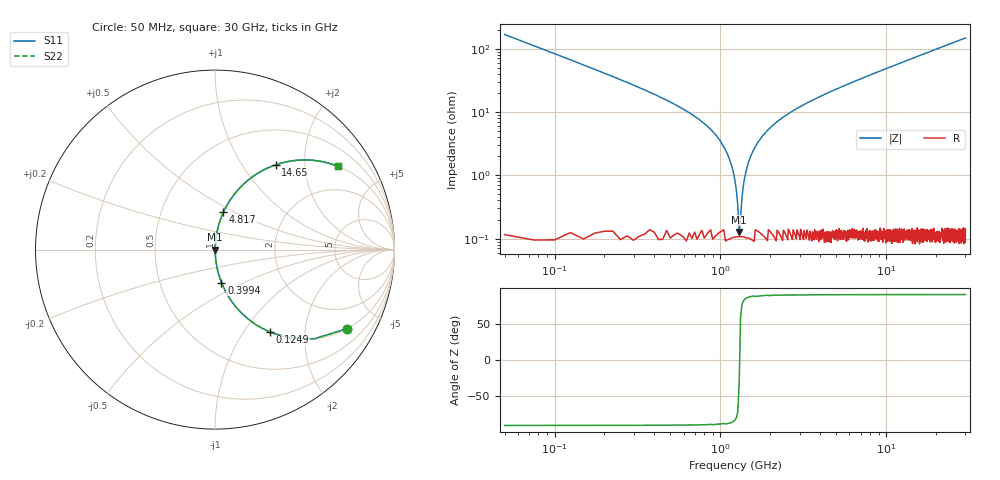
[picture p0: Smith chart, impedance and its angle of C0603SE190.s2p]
!	AVX Thin Film Operation 	Date: April 2014
!	Description: Accu-P® Series, Thin Film  SMD RF Capacitor
!	Part Number: 06033J190FBSTR
# MHZ S MA R 50
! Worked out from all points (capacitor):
!   1201 points, 50 MHz to 30 GHz, reference 50 ohm
!   read as one part in series: C = 19 pF near 199.8 MHz
!   lowest |Z| = 127 mohm at 1.298 GHz (marker M1)
!   series resonance near 1.305 GHz, so ESL is about 780 pH
!   S11 on the Smith chart (normalised r, x): 50 MHz: 1.00, -3.35; 124.9 MHz: 1.00, -1.33; 399.4 MHz: 1.00, -0.38; 4.817 GHz: 1.00, +0.44; 14.65 GHz: 1.00, +1.43; 30 GHz: 1.00, +2.95
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50  0.858 -30.9  0.513 59.1  0.513 59.1  0.858 -30.9
124.875  0.553 -56.3  0.832 33.6  0.832 33.6  0.553 -56.3
249.667  0.307 -71.9  0.951 17.9  0.951 17.9  0.307 -71.9
399.417  0.187 -78.9  0.981 10.8  0.981 10.8  0.187 -78.9
948.5  0.042 -86.0  0.998 2.4  0.998 2.4  0.042 -86.0
1073.292  0.025 -85.9  0.999 1.4  0.999 1.4  0.025 -85.9
1198.083  0.011 -83.4  0.999 0.6  0.999 0.6  0.011 -83.4
1297.917  0.001333 -30.4  0.999 0.0  0.999 0.0  0.001333 -30.4
1397.75  0.008909 82.1  0.999 -0.5  0.999 -0.5  0.008909 82.1
1522.542  0.02 85.6  0.999 -1.1  0.999 -1.1  0.02 85.6
1672.292  0.032 86.1  0.998 -1.8  0.998 -1.8  0.032 86.1
1896.917  0.049 85.8  0.998 -2.8  0.998 -2.8  0.049 85.8
2171.458  0.068 85.1  0.997 -3.9  0.997 -3.9  0.068 85.1
3169.792  0.128 82.1  0.991 -7.4  0.991 -7.4  0.128 82.1
4817.042  0.214 77.3  0.976 -12.4  0.976 -12.4  0.214 77.3
5041.667  0.225 76.7  0.973 -13.0  0.973 -13.0  0.225 76.7
10058.29  0.437 63.9  0.898 -25.9  0.898 -25.9  0.437 63.9
14650.62  0.581 54.4  0.813 -35.5  0.813 -35.5  0.581 54.4
15025  0.591 53.7  0.806 -36.2  0.806 -36.2  0.591 53.7
20016.67  0.7 45.5  0.714 -44.4  0.714 -44.4  0.7 45.5
25033.29  0.775 39.1  0.631 -50.8  0.631 -50.8  0.775 39.1
30000  0.827 34.2  0.561 -55.8  0.561 -55.8  0.827 34.2
